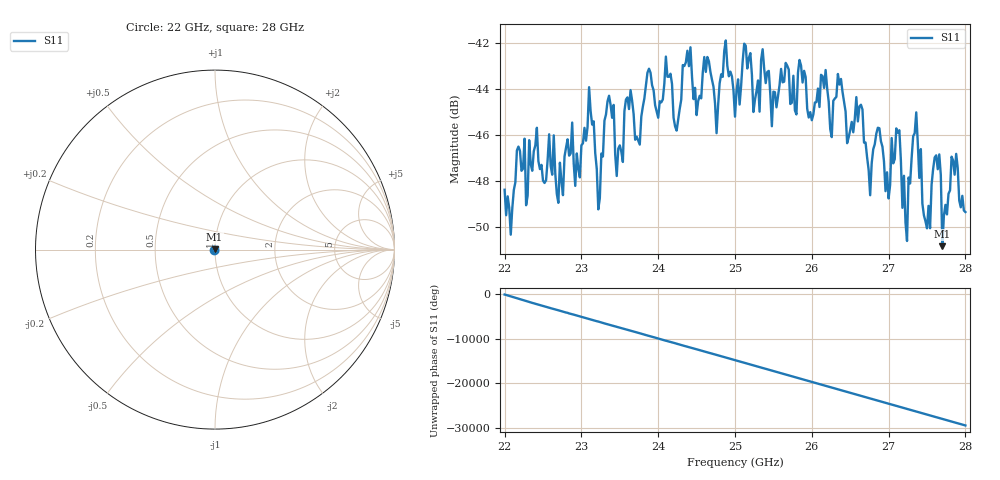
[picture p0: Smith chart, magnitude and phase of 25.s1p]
#  HZ  S  RI  R  50.00
! Rohde & Schwarz ZVA40 4Ports - Version 3.90 - 1145.1110k42 SN: 100403
! Date: 2023-10-04 10:30:11
! Measurement: S12
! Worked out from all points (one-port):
!   301 points, 22 GHz to 28 GHz, reference 50 ohm
!   lowest |S11| = -50.8 dB at 27.7 GHz (marker M1), VSWR 1.01, Z = 49.8 + j0.165 ohm
!   |S11| at or under -10 dB: start of sweep to end of sweep
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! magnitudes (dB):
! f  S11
! 22 GHz  -48.4
! 22.28 GHz  -49.1
! 22.42 GHz  -45.7
! 22.76 GHz  -48.6
! 23.1 GHz  -43.9
! 23.22 GHz  -49.2
! 23.36 GHz  -44.3
! 23.5 GHz  -46.5
! 24.1 GHz  -42.6
! 24.26 GHz  -45.3
! 24.42 GHz  -42.2
! 24.76 GHz  -45.9
! 24.88 GHz  -41.9
! 25 GHz  -45.2
! 25.12 GHz  -42.0
! 25.48 GHz  -45.6
! 25.76 GHz  -43.4
! 26.5 GHz  -45.8
! 27 GHz  -48.8
! 27.14 GHz  -45.8
! 27.24 GHz  -50.6
! 27.26 GHz  -47.9
! 27.36 GHz  -45.0
! 27.54 GHz  -50.1
! 27.66 GHz  -46.8
! 27.7 GHz  -50.8
! 27.82 GHz  -46.9
! 28 GHz  -49.4
